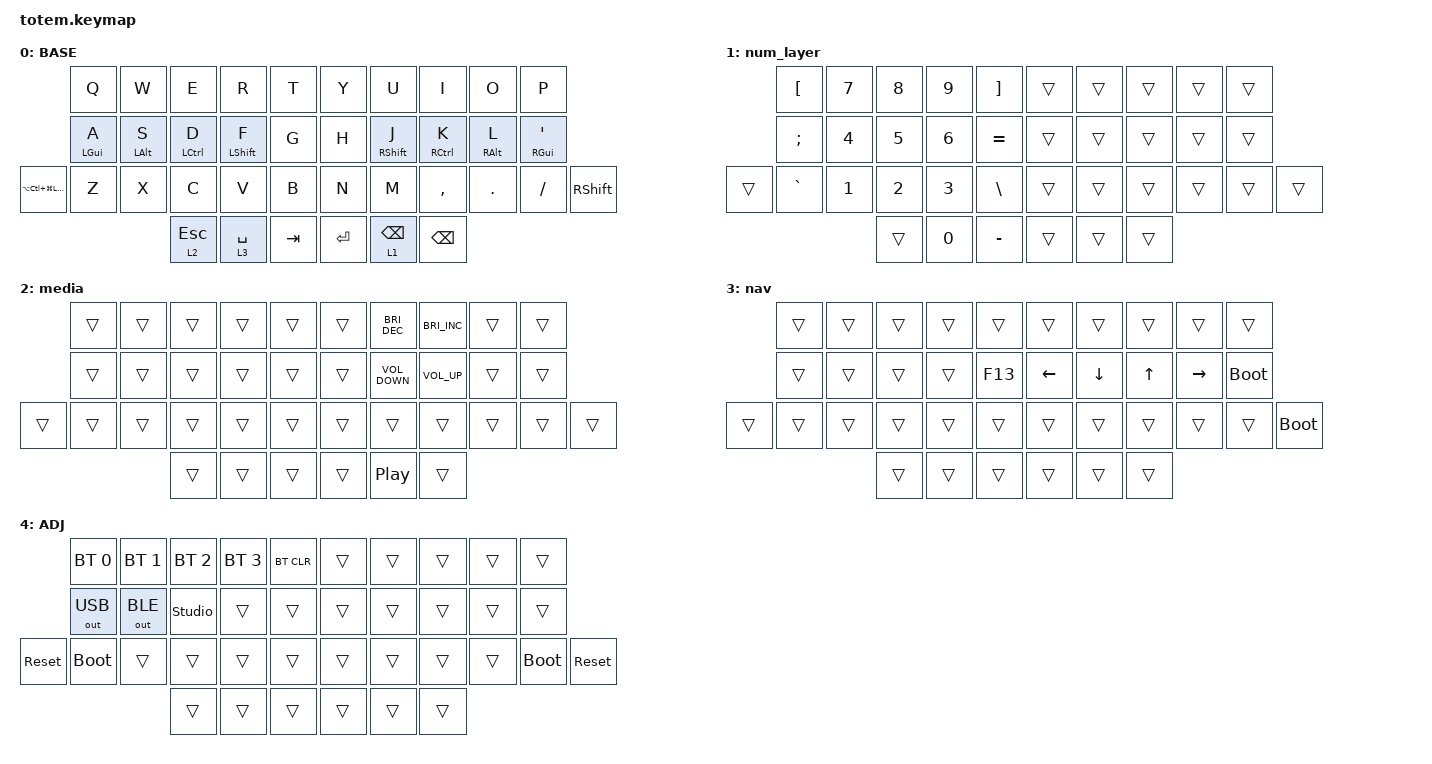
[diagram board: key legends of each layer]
#include <behaviors.dtsi>
#include <dt-bindings/zmk/keys.h>
#include <dt-bindings/zmk/bt.h>
#include <dt-bindings/zmk/outputs.h>

#define BASE 0
#define NUM  1
#define MEDIA 2
#define NAV  3
#define ADJUST 4

// Thumb layer-taps: prefer the hold (layer) when held past the term.
&lt {
    flavor = "hold-preferred";
    tapping-term-ms = <200>;
    quick-tap-ms = <175>;
};

/ {
    behaviors {
        // Home-row mods, tuned for a fast tap-typist:
        //  - require-prior-idle-ms: if you typed anything in the last 150ms,
        //    this key fires its LETTER instantly and can never become a
        //    modifier. This kills the "mods feel laggy" problem.
        //  - hold-trigger-key-positions: opposite hand + thumbs trigger a mod,
        //    so fast same-hand HOME-ROW rolls (e.g. "sd", "df") never misfire.
        //    We ALSO arm each hand's own bottom row (Z X C V B / N M , . /) so
        //    same-hand shortcuts (Cmd/Ctrl + C/X/V/Z/B) fire instantly. Top-row
        //    same-hand shortcuts (Cmd+W/R/T) still work via a brief 180ms hold.
        //  - hold-trigger-on-release: lets you chain mods (Ctrl+Shift+key).
        hml: home_row_mod_left {
            compatible = "zmk,behavior-hold-tap";
            #binding-cells = <2>;
            flavor = "balanced";
            tapping-term-ms = <180>;
            quick-tap-ms = <175>;
            require-prior-idle-ms = <150>;
            bindings = <&kp>, <&kp>;
            hold-trigger-key-positions = <21 22 23 24 25  5 6 7 8 9 15 16 17 18 19 26 27 28 29 30 31  32 33 34 35 36 37>;
            hold-trigger-on-release;
        };
        hmr: home_row_mod_right {
            compatible = "zmk,behavior-hold-tap";
            #binding-cells = <2>;
            flavor = "balanced";
            tapping-term-ms = <180>;
            quick-tap-ms = <175>;
            require-prior-idle-ms = <150>;
            bindings = <&kp>, <&kp>;
            hold-trigger-key-positions = <26 27 28 29 30  0 1 2 3 4 10 11 12 13 14 20 21 22 23 24 25  32 33 34 35 36 37>;
            hold-trigger-on-release;
        };
    };

    // Hold the left SPACE thumb (NAV) + right BACKSPACE thumb (NUM) together
    // to reach the ADJUST layer (Bluetooth, USB/BLE output, Studio unlock,
    // bootloader, reset).
    conditional_layers {
        compatible = "zmk,conditional-layers";
        adjust {
            if-layers = <NUM NAV>;
            then-layer = <ADJUST>;
        };
    };

    combos { compatible = "zmk,combos"; };

    keymap {
        compatible = "zmk,keymap";

        base_layer {
            label = "BASE";

            // ╭─────────┬─────────┬─────────┬─────────┬─────────╮   ╭─────────┬─────────┬─────────┬─────────┬─────────╮
            // │    Q    │    W    │    E    │    R    │    T    │   │    Y    │    U    │    I    │    O    │    P    │
            // ├─────────┼─────────┼─────────┼─────────┼─────────┤   ├─────────┼─────────┼─────────┼─────────┼─────────┤
            // │  GUI/A  │  ALT/S  │  CTL/D  │  SHF/F  │    G    │   │    H    │  SHF/J  │  CTL/K  │  ALT/L  │  GUI/;  │
            // ├─────────┼─────────┼─────────┼─────────┼─────────┤   ├─────────┼─────────┼─────────┼─────────┼─────────┤
            // │    Z    │    X    │    C    │    V    │    B    │   │    N    │    M    │    ,    │    .    │    /    │
            // ╰─────────┴─────────┴─────────┼─────────┼─────────┤   ├─────────┼─────────┼─────────┴─────────┴─────────╯
            //                               │   TAB   │ NAV/SPC │   │ SYM/RET │  BSPC   │
            //                               ╰─────────┴─────────╯   ╰─────────┴─────────╯

            bindings = <
                       &kp Q        &kp W        &kp E         &kp R         &kp T        &kp Y      &kp U            &kp I          &kp O        &kp P
                       &hml LGUI A  &hml LALT S  &hml LCTRL D  &hml LSHFT F  &kp G        &kp H      &hmr RSHFT J     &hmr RCTRL K   &hmr RALT L  &hmr RGUI SQT
&kp LA(LC(LG(LSHFT)))  &kp Z        &kp X        &kp C         &kp V         &kp B        &kp N      &kp M            &kp COMMA      &kp DOT      &kp FSLH      &kp RSHFT
                                                 &lt 2 ESCAPE  &lt 3 SPACE   &kp TAB      &kp RET    &lt 1 BACKSPACE  &kp BACKSPACE
            >;
        };

        num_layer {
            bindings = <
        &kp LBKT   &kp N7        &kp N8  &kp N9  &kp RBKT     &trans  &trans  &trans  &trans  &trans
        &kp SEMI   &kp N4        &kp N5  &kp N6  &kp EQUAL    &trans  &trans  &trans  &trans  &trans
&trans  &kp GRAVE  &kp NUMBER_1  &kp N2  &kp N3  &kp BSLH     &trans  &trans  &trans  &trans  &trans  &trans
                                 &trans  &kp N0  &kp MINUS    &trans  &trans  &trans
            >;
        };

        media {
            bindings = <
        &trans  &trans  &trans  &trans  &trans    &trans  &kp C_BRIGHTNESS_DEC  &kp C_BRIGHTNESS_INC  &trans  &trans
        &trans  &trans  &trans  &trans  &trans    &trans  &kp C_VOLUME_DOWN     &kp C_VOLUME_UP       &trans  &trans
&trans  &trans  &trans  &trans  &trans  &trans    &trans  &trans                &trans                &trans  &trans  &trans
                        &trans  &trans  &trans    &trans  &kp C_PLAY_PAUSE      &trans
            >;
        };

        Navigation {
            bindings = <
        &trans  &trans  &trans  &trans  &trans     &trans          &trans    &trans  &trans     &trans
        &trans  &trans  &trans  &trans  &kp F13    &kp LEFT_ARROW  &kp DOWN  &kp UP  &kp RIGHT  &bootloader
&trans  &trans  &trans  &trans  &trans  &trans     &trans          &trans    &trans  &trans     &trans  &bootloader
                        &trans  &trans  &trans     &trans          &trans    &trans
            >;

            label = "nav";
        };

        // Reached by holding both inner thumbs (SPACE + BACKSPACE) together.
        // BT_SEL 0-3 = pick a Bluetooth profile, BT_CLR = forget the current
        // profile's pairing (use this to re-pair the Mac), OUT_USB/OUT_BLE =
        // force wired vs wireless output, studio_unlock = allow ZMK Studio to
        // edit, bootloader/sys_reset on the outer corners for flashing.
        adjust_layer {
            label = "ADJ";
            bindings = <
            &bt BT_SEL 0  &bt BT_SEL 1  &bt BT_SEL 2    &bt BT_SEL 3  &bt BT_CLR     &trans  &trans  &trans  &trans  &trans
            &out OUT_USB  &out OUT_BLE  &studio_unlock  &trans        &trans         &trans  &trans  &trans  &trans  &trans
&sys_reset  &bootloader   &trans        &trans          &trans        &trans         &trans  &trans  &trans  &trans  &bootloader  &sys_reset
                                        &trans          &trans        &trans         &trans  &trans  &trans
            >;
        };

        // Empty slots so ZMK Studio can create new layers. Ignored by normal
        // builds; only Studio-enabled firmware exposes them.
        extra1 { status = "reserved"; };
        extra2 { status = "reserved"; };
        extra3 { status = "reserved"; };
        extra4 { status = "reserved"; };
        extra5 { status = "reserved"; };
        extra6 { status = "reserved"; };
        extra7 { status = "reserved"; };
        extra8 { status = "reserved"; };
        extra9 { status = "reserved"; };
        extra10 { status = "reserved"; };
    };
};
